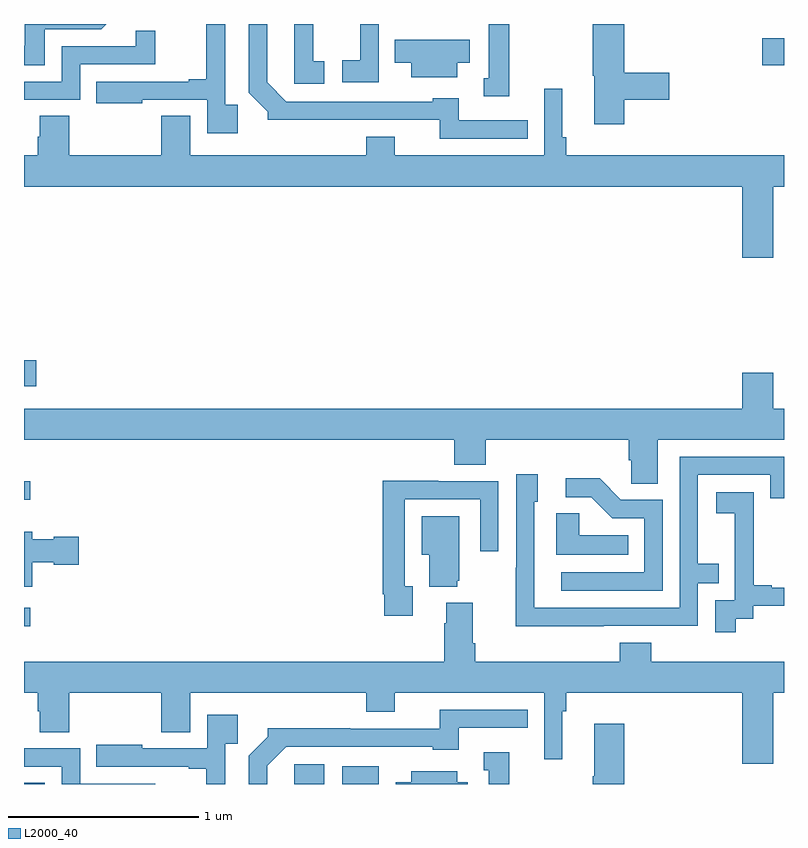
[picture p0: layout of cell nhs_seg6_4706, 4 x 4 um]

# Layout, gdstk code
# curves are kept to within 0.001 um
import gdstk
lib = gdstk.Library(unit=1e-6, precision=1e-09)
def R(c, l, rs):  # rectangles x0, y0, x1, y1
    for r in rs: c.add(gdstk.rectangle(r[:2], r[2:], *l))
def P(c, l, *ps):  # polygons
    for p in ps: c.add(gdstk.Polygon(p, *l))
L2000_40 = (2000, 40)

nhs_seg6_4706 = lib.new_cell('nhs_seg6_4706')
R(nhs_seg6_4706, L2000_40, [(389,969.5,389.11,969.506), (390.422,969.5,390.58,969.604), (390.675,969.5,390.867,969.594), (389,970.331,389.032,970.428), (389,970.997,389.032,971.094), (389,971.594,389.065,971.729), (392.886,973.282,393,973.424)])
P(nhs_seg6_4706, L2000_40, [(390.58,973.305),(390.522,973.305),(390.522,973.5),(390.423,973.5),(390.423,973.46),(390.422,973.46),(390.422,973.185),(390.58,973.185)],
  [(390.125,973.075),(390.06,973.075),(390.06,973.5),(389.959,973.5),(389.959,973.21),(389.867,973.21),(389.867,973.197),(389.38,973.197),(389.38,973.082),(389.623,973.082),(389.623,973.101),(389.964,973.101),(389.964,972.924),(390.125,972.924)],
  [(389.11,973.473),(389.406,973.473),(389.433,973.5),(389.003,973.5),(389.003,973.386),(389,973.386),(389,973.282),(389.11,973.282)],
  [(392.159,973.102),(392.395,973.102),(392.395,973.244),(392.159,973.244),(392.159,973.5),(391.993,973.5),(391.993,973.227),(392,973.227),(392,972.972),(392.159,972.972)],
  [(391.652,972.993),(391.288,972.993),(391.288,973.108),(391.152,973.108),(391.152,973.092),(390.381,973.092),(390.28,973.193),(390.28,973.5),(390.183,973.5),(390.183,973.138),(390.282,973.039),(390.282,972.995),(391.189,972.996),(391.189,972.897),(391.652,972.897)],
  [(391.555,973.5),(391.446,973.5),(391.446,973.215),(391.421,973.215),(391.421,973.121),(391.555,973.121)],
  [(390.867,973.5),(390.769,973.5),(390.769,973.31),(390.675,973.31),(390.675,973.194),(390.867,973.194)],
  [(389.295,973.287),(389.69,973.287),(389.69,973.465),(389.589,973.465),(389.589,973.383),(389.199,973.383),(389.199,973.197),(389,973.197),(389,973.101),(389.295,973.101)],
  [(391.279,973.295),(391.345,973.295),(391.345,973.417),(390.952,973.417),(390.952,973.295),(391.037,973.295),(391.037,973.22),(391.279,973.22)],
  [(392.944,972.644),(393,972.644),(393,972.808),(391.853,972.808),(391.853,972.904),(391.834,972.904),(391.834,973.159),(391.737,973.159),(391.737,972.808),(390.952,972.808),(390.952,972.907),(390.8,972.907),(390.8,972.808),(389.875,972.808),(389.875,973.016),(389.723,973.016),(389.723,972.808),(389.237,972.808),(389.237,973.016),(389.084,973.016),(389.084,972.906),(389.072,972.906),(389.072,972.808),(389,972.808),(389,972.644),(392.78,972.644),(392.78,972.27),(392.944,972.27)],
  [(392.335,971.312),(393,971.312),(393,971.476),(392.944,971.476),(392.944,971.665),(392.78,971.665),(392.78,971.476),(389,971.476),(389,971.312),(391.265,971.312),(391.265,971.179),(391.43,971.179),(391.43,971.312),(392.183,971.312),(392.183,971.203),(392.196,971.203),(392.196,971.08),(392.335,971.08)],
  [(392.051,970.332),(392.547,970.332),(392.547,970.557),(392.657,970.557),(392.657,970.658),(392.547,970.658),(392.547,971.127),(392.928,971.127),(392.928,971.004),(393,971.004),(393,971.223),(392.451,971.223),(392.451,970.428),(391.686,970.428),(391.686,970.986),(391.705,970.986),(391.705,971.131),(391.59,971.131),(391.59,970.637),(391.588,970.637),(391.588,970.331),(392.051,970.331)],
  [(392.361,970.995),(392.142,970.995),(392.029,971.108),(391.851,971.108),(391.851,971.01),(391.985,971.01),(392.096,970.899),(392.265,970.899),(392.265,970.614),(391.827,970.614),(391.827,970.518),(392.361,970.518)],
  [(391.045,970.542),(391.005,970.542),(391.005,970.998),(391.401,970.998),(391.401,970.725),(391.497,970.725),(391.497,971.094),(391.181,971.094),(391.181,971.096),(390.889,971.096),(390.889,970.498),(390.897,970.498),(390.897,970.386),(391.045,970.386)],
  [(392.746,970.369),(392.838,970.369),(392.838,970.437),(393,970.437),(393,970.533),(392.935,970.533),(392.935,970.546),(392.84,970.546),(392.84,970.829),(392.841,970.829),(392.841,971.035),(392.643,971.035),(392.643,970.925),(392.741,970.925),(392.741,970.697),(392.742,970.697),(392.742,970.467),(392.637,970.467),(392.637,970.299),(392.746,970.299)],
  [(392.18,970.81),(391.923,970.81),(391.923,970.925),(391.802,970.925),(391.802,970.706),(392.18,970.706)],
  [(391.28,970.569),(391.291,970.569),(391.291,970.909),(391.094,970.909),(391.094,970.706),(391.133,970.706),(391.133,970.538),(391.28,970.538)],
  [(389.044,970.667),(389.157,970.667),(389.157,970.655),(389.287,970.655),(389.287,970.802),(389.157,970.802),(389.157,970.789),(389.044,970.789),(389.044,970.828),(389,970.828),(389,970.538),(389.044,970.538)],
  [(392.944,969.98),(393,969.98),(393,970.144),(392.3,970.144),(392.3,970.243),(392.135,970.243),(392.135,970.144),(391.376,970.144),(391.376,970.24),(391.363,970.24),(391.363,970.453),(391.223,970.453),(391.223,970.346),(391.211,970.346),(391.211,970.144),(389,970.144),(389,969.98),(389.072,969.98),(389.072,969.882),(389.084,969.882),(389.084,969.772),(389.237,969.772),(389.237,969.98),(389.723,969.98),(389.723,969.772),(389.875,969.772),(389.875,969.98),(390.8,969.98),(390.8,969.881),(390.952,969.881),(390.952,969.98),(391.737,969.98),(391.737,969.63),(391.834,969.63),(391.834,969.884),(391.853,969.884),(391.853,969.98),(392.78,969.98),(392.78,969.606),(392.944,969.606)],
  [(390.28,969.595),(390.381,969.696),(391.152,969.696),(391.152,969.68),(391.288,969.68),(391.288,969.795),(391.652,969.795),(391.652,969.891),(391.189,969.891),(391.189,969.792),(390.716,969.792),(390.716,969.794),(390.282,969.794),(390.282,969.749),(390.183,969.65),(390.183,969.5),(390.28,969.5)],
  [(390.06,969.713),(390.125,969.713),(390.125,969.865),(389.964,969.865),(389.964,969.687),(389.623,969.687),(389.623,969.706),(389.38,969.706),(389.38,969.591),(389.867,969.591),(389.867,969.579),(389.959,969.579),(389.959,969.5),(390.06,969.5)],
  [(392.159,969.817),(392,969.817),(392,969.542),(391.993,969.542),(391.993,969.5),(392.159,969.5)],
  [(389.69,969.501),(389.295,969.501),(389.295,969.687),(389,969.687),(389,969.591),(389.199,969.591),(389.199,969.5),(389.69,969.5)],
  [(391.555,969.667),(391.421,969.667),(391.421,969.573),(391.446,969.573),(391.446,969.5),(391.555,969.5)],
  [(391.336,969.508),(391.279,969.508),(391.279,969.568),(391.037,969.568),(391.037,969.508),(390.956,969.508),(390.956,969.5),(391.336,969.5)])

lib.write_gds('nhs_seg6_4706.gds')
